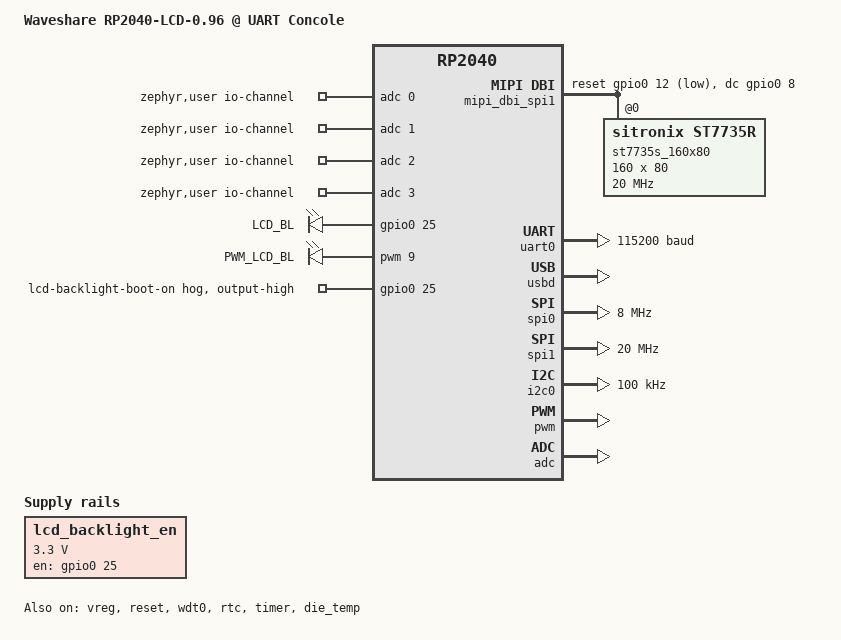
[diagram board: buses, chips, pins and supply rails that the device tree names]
/*
 * SPDX-FileCopyrightText: Copyright (c) 2023-2026 TiaC Systems
 * SPDX-License-Identifier: Apache-2.0
 */

/dts-v1/;

#include <freq.h>
#include <mem.h>

#include <raspberrypi/rpi_pico/rp2040.dtsi>
#include <raspberrypi/partitions_2M_default.dtsi>

#include <zephyr/dt-bindings/clock/rpi_pico_rp2040_clock.h>
#include <zephyr/dt-bindings/regulator/rpi_pico.h>

#include <zephyr/dt-bindings/gpio/gpio.h>
#include <zephyr/dt-bindings/i2c/i2c.h>
#include <zephyr/dt-bindings/pwm/pwm.h>

#include <zephyr/dt-bindings/display/panel.h>
#include <zephyr/dt-bindings/mipi_dbi/mipi_dbi.h>

#include "raspberrypi_pico_connector.dtsi"
#include "raspberrypi_pico_r3_connector.dtsi"
#include "waveshare_rp2040_lcd_0_96-pinctrl.dtsi"

/ {
	model = "Waveshare RP2040-LCD-0.96 @ UART Concole";
	compatible = "waveshare,rp2040-lcd-0.96",
		     "waveshare,rp2040-lcd-0.96-uartcons";

	chosen {
		zephyr,sram = &sram0;
		zephyr,flash = &flash0;
		zephyr,flash-controller = &ssi;
		zephyr,code-partition = &code_partition;
		zephyr,console = &uart0;
		zephyr,shell-uart = &uart0;
		zephyr,display = &lcd_panel;
	};

	aliases {
		watchdog0 = &wdt0;
		led0 = &led0;
		pwm-led0 = &pwm_led0;
	};

	zephyr,user {
		io-channels = <&adc 0>, <&adc 1>, <&adc 2>, <&adc 3>;
	};

	gpio_leds: gpio-leds {
		compatible = "gpio-leds";

		led0: led0 {
			gpios = <&gpio0 25 GPIO_ACTIVE_HIGH>;
			label = "LCD_BL";
		};
	};

	pwm_leds: pwm-leds {
		compatible = "pwm-leds";

		pwm_led0: pwm-led0 {
			pwms = <&pwm 9 PWM_MSEC(20) PWM_POLARITY_NORMAL>;
			label = "PWM_LCD_BL";
		};
	};

	mipi_dbi_spi1: mipi-dbi-spi1 {
		compatible = "zephyr,mipi-dbi-spi";
		#address-cells = <1>;
		#size-cells = <0>;
	};

	lcd_backlight_en: lcd-backlight-en {
		compatible = "regulator-fixed";
		regulator-name = "lcd_backlight";
	};
};

&flash0 {
	status = "okay";
	reg = <0x10000000 DT_SIZE_M(2)>;
	ranges = <0x0 0x10000000 DT_SIZE_M(2)>;
};

&clocks {
	status = "okay";
	pinctrl-0 = <&clocks_default>;
	pinctrl-names = "default";
};

&vreg {
	status = "okay";
	regulator-always-on;
	regulator-allowed-modes = <REGULATOR_RPI_PICO_MODE_NORMAL>;
};

&reset {
	status = "okay";
};

&wdt0 {
	status = "okay";
};

&rtc {
	status = "okay";
	clocks = <&clocks RPI_PICO_CLKID_CLK_RTC>;
};

&timer {
	status = "okay";
};

&dma {
	status = "okay";
};

&die_temp {
	status = "okay";
	friendly-name = "RP2040 chip temperature";
};

&uart0 {
	status = "okay";
	pinctrl-0 = <&uart0_default>;
	pinctrl-names = "default";
	current-speed = <115200>;
};

zephyr_udc0: &usbd {
	status = "okay";
};

&spi0 {
	status = "okay";
	pinctrl-0 = <&spi0_pico_default>;
	pinctrl-names = "default";
	clock-frequency = <DT_FREQ_M(8)>;
};

&spi1 {
	status = "okay";
	pinctrl-0 = <&spi1_lcd>;
	pinctrl-names = "default";
	clock-frequency = <DT_FREQ_M(20)>;

	/* GP9 as CSn to ST7735S LCD panel controller. */
	cs-gpios = <&gpio0 9 GPIO_ACTIVE_LOW>;
};

&mipi_dbi_spi1 {
	status = "okay";

	/* SPI1 as serial bus to ST7735S LCD panel controller. */
	spi-dev = <&spi1>;
	write-only;

	/* GP8/12 as DC/RST to ST7735S LCD panel controller. */
	reset-gpios = <&gpio0 12 GPIO_ACTIVE_LOW>;
	dc-gpios = <&gpio0 8 GPIO_ACTIVE_HIGH>;

	/* LCD with ST7735S controller. */
	st7735s_160x80: st7735s@0 {
		compatible = "sitronix,st7735r";
		status = "okay";

		reg = <0>;
		mipi-max-frequency = <DT_FREQ_M(20)>;
		mipi-mode = "MIPI_DBI_MODE_SPI_4WIRE";

		/* 16-bit, RGB565 */
		colmod = <0x05>;
		inversion-on; /* required for RGB */

		/* landscape */
		width = <160>;
		height = <80>;
		x-offset = <1>;
		y-offset = <26>;
		madctl = <0x68>;
	//	madctl = <0xE8>; /* mirrored */
	//	madctl = <0xA8>; /* overhead */
	//	madctl = <0x28>; /* upsidedown */

		/* portrait */
	//	width = <80>;
	//	height = <160>;
	//	x-offset = <26>;
	//	y-offset = <1>;
	//	madctl = <0x08>;
	//	madctl = <0x48>; /* mirrored */
	//	madctl = <0xC8>; /* overhead */
	//	madctl = <0x88>; /* upsidedown */

		pwctr1 = [62 02 04];
		pwctr2 = [C0];
		pwctr3 = [0D 00];
		pwctr4 = [8D 6A];
		pwctr5 = [8D EE];
		vmctr1 = <0x0E>;
		frmctr1 = [05 3A 3A];
		frmctr2 = [05 3A 3A];
		frmctr3 = [05 3A 3A 05 3A 3A];
		invctr = <0x03>;
		gamctrp1 = [10 0E 02 03 0E 07 02 07 0A 12 27 37 00 0D 0E 10];
		gamctrn1 = [10 0E 03 03 0F 06 02 08 0A 13 26 36 00 0D 0E 10];
		caset = [00 01 00 A0];
		raset = [00 1A 00 69];
	};
};

lcd_panel: &st7735s_160x80 {};

&lcd_backlight_en {
	status = "okay";
	regulator-boot-on; /* 3.3V only, on boot default by gpio-hog */
	regulator-min-microvolt = <3300000>;
	regulator-max-microvolt = <3300000>;

	/* GP26 as backlight enable to LCD panel. */
	enable-gpios = <&gpio0 25 GPIO_ACTIVE_HIGH>;
};

&gpio0 {
	lcd-backlight-boot-on {
		gpio-hog;
		output-high;
		gpios = <25 GPIO_ACTIVE_HIGH>;
		line-name = "lcd-backlight-boot-on";
	};
};

&i2c0 {
	status = "okay";
	pinctrl-0 = <&i2c0_pico_default>;
	pinctrl-names = "default";
	clock-frequency = <I2C_BITRATE_STANDARD>;
};

&i2c1 {
	status = "disabled";
	pinctrl-0 = <&i2c1_pico_default>;
	pinctrl-names = "default";
	clock-frequency = <I2C_BITRATE_STANDARD>;
};

&pwm {
	status = "okay";
	pinctrl-0 = <&pwm_pico_default>;
	pinctrl-names = "default";
	divider-int-4 = <255>;  /* led: PWM4CHB (9) */
};

&adc {
	status = "okay";
	pinctrl-0 = <&adc_default>;
	pinctrl-names = "default";
};

&gpio0 {
	status = "okay";
	/* namespace and positions without wired bits */
	gpio-line-names =
		"TX0",			/* GP0 */
		"RX0",			/* GP1 */
		"GP2_PWM2_CTS0",	/* GP2 */
		"GP3_PWM3_RTS0",	/* GP3 */
		"SDA0",			/* GP4 */
		"SCL0",			/* GP5 */
		"GP6_PWM6",		/* GP6 */
		"GP7_PWM7",		/* GP7 */
		"LCD_DC",		/* GP8 */
		"LCD_CSN1",		/* GP9 */
		"LCD_SCK1",		/* GP10 */
		"LCD_SDO1",		/* GP11 */
		"LCD_RST",		/* GP12 */
		"GP13_PWM13",		/* GP13 */
		"GP14_PWM14_SDA1",	/* GP14 */
		"GP15_PWM15_SCL1",	/* GP15 */
		"SDI0",			/* GP16 */
		"CSN0",			/* GP17 */
		"SCK0",			/* GP18 */
		"SDO0",			/* GP19 */
		"GP20_PWM4",		/* GP20 */
		"GP21_PWM5",		/* GP21 */
		"GP22_PWM6",		/* GP22 */
		"PSU_SMPS_PWM7",	/* GP23 */
		"PSU_VBUS/1.51",	/* GP24 */
		"LCD_BL_PWM9",		/* GP25 */
		"ADC0",			/* GP26 */
		"ADC1",			/* GP27 */
		"ADC2",			/* GP28 */
		"PSU_ADC3_VSYS/3";	/* GP29 */
};
